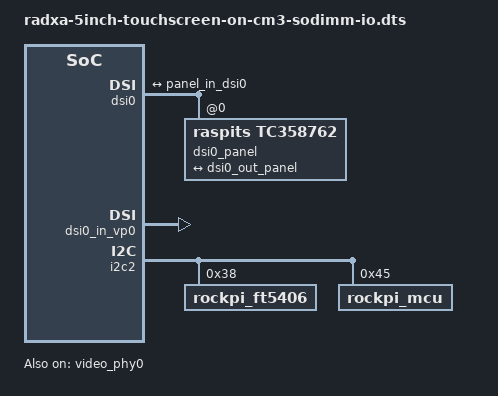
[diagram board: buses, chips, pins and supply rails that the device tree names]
/dts-v1/;
/plugin/;
#include <dt-bindings/display/rockchip_vop.h>

/ {
	metadata {
		title = "Enable Radxa 5-inch Touchscreen";
		compatible = "radxa,radxa-cm3-sodimm-io";
		category = "display";
		exclusive = "dsi0";
		description = "Enable Radxa 5-inch Touchscreen.";
	};

	fragment@0 {
		target = <&video_phy0>;

		__overlay__ {
			status = "okay";
		};
	};

	fragment@1 {
		target = <&dsi0>;

		__overlay__ {
			status = "okay";
			#address-cells = <1>;
			#size-cells = <0>;

			dsi0_panel: dsi-panel@0 {
				compatible = "raspits,tc358762";
				reg = <0x0>;
				status = "okay";

				ports {
					#address-cells = <1>;
					#size-cells = <0>;

					port@0 {
						reg = <0>;

						panel_in_dsi0: endpoint {
							remote-endpoint = <&dsi0_out_panel>;
						};
					};
				};
			};

			ports {
				#address-cells = <1>;
				#size-cells = <0>;

				port@1 {
					reg = <1>;
					#address-cells = <1>;
					#size-cells = <0>;

					dsi0_out_panel: endpoint@0 {
						reg = <0>;
						remote-endpoint = <&panel_in_dsi0>;
					};
				};
			};
		};
	};

	fragment@2 {
		target = <&dsi0_panel>;

		__overlay__ {
			status = "okay";
		};
	};

	fragment@3 {
		target = <&dsi0_in_vp0>;

		__overlay__ {
			status = "okay";
		};
	};

	fragment@4 {
		target = <&dsi0_in_vp1>;

		__overlay__ {
			status = "disabled";
		};
	};

	fragment@5 {
		target = <&route_dsi0>;

		__overlay__ {
			status = "disabled";
		};
	};

	fragment@6 {
		target = <&i2c2>;

		__overlay__ {
			status = "okay";
			pinctrl-0 = <&i2c2m1_xfer>;
			#address-cells = <1>;
			#size-cells = <0>;

			rockpi_ft5406: rockpi_ft5406@38 {
				compatible = "rockpi_ft5406";
				reg = <0x38>;
				status = "okay";
			};

			rockpi_mcu: rockpi-mcu@45 {
				compatible = "rockpi_mcu";
				reg = <0x45>;
				status = "okay";
			};
		};
	};

	fragment@7 {
		target = <&vp0>;

		__overlay__ {
			rockchip,plane-mask = <(1 << ROCKCHIP_VOP2_CLUSTER0 | 1 << ROCKCHIP_VOP2_ESMART0 | 1 << ROCKCHIP_VOP2_SMART0)>;
			rockchip,primary-plane = <ROCKCHIP_VOP2_SMART0>;
		};
	};

	fragment@8 {
		target = <&hdmi>;

		__overlay__ {
			status = "disabled";
		};
	};

	fragment@9 {
		target = <&hdmi_in_vp0>;

		__overlay__ {
			status = "disabled";
		};
	};
};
